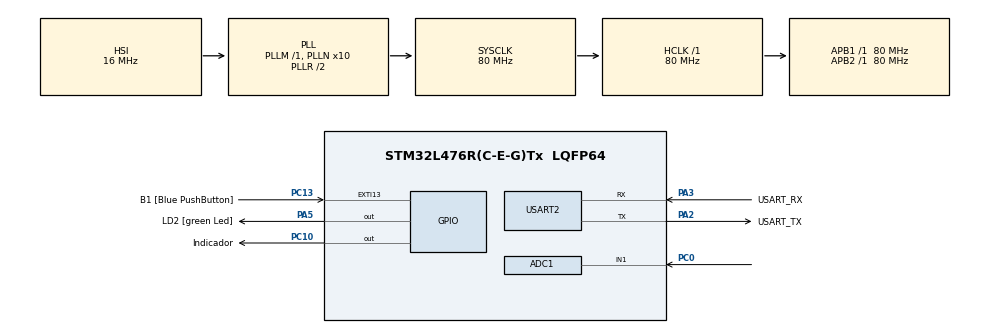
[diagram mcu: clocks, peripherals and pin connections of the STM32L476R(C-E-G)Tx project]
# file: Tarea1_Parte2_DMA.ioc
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ADC1.Channel-0\#ChannelRegularConversion=ADC_CHANNEL_1
ADC1.ExternalTrigConv=ADC_EXTERNALTRIG_T3_TRGO
ADC1.NbrOfConversionFlag=1
ADC1.OffsetNumber-0\#ChannelRegularConversion=ADC_OFFSET_NONE
ADC1.Rank-0\#ChannelRegularConversion=1
ADC1.SamplingTime-0\#ChannelRegularConversion=ADC_SAMPLETIME_2CYCLES_5
ADC1.master=1
Dma.ADC1.0.Direction=DMA_PERIPH_TO_MEMORY
Dma.ADC1.0.Instance=DMA1_Channel1
Dma.ADC1.0.MemDataAlignment=DMA_MDATAALIGN_HALFWORD
Dma.ADC1.0.MemInc=DMA_MINC_ENABLE
Dma.ADC1.0.Mode=DMA_NORMAL
Dma.ADC1.0.PeriphDataAlignment=DMA_PDATAALIGN_HALFWORD
Dma.ADC1.0.PeriphInc=DMA_PINC_DISABLE
Dma.ADC1.0.Priority=DMA_PRIORITY_MEDIUM
Dma.Request0=ADC1
Mcu.Family=STM32L4
Mcu.Name=STM32L476R(C-E-G)Tx
Mcu.Package=LQFP64
NVIC.ADC1_2_IRQn=true\:0\:0\:false\:false\:true\:true\:true\:true
NVIC.DMA1_Channel1_IRQn=true\:0\:0\:false\:false\:true\:false\:true\:true
NVIC.EXTI15_10_IRQn=true\:0\:0\:false\:false\:true\:true\:true\:true
NVIC.PriorityGroup=NVIC_PRIORITYGROUP_4
PA13\ (JTMS-SWDIO).GPIO_Label=TMS
PA13\ (JTMS-SWDIO).Mode=Serial_Wire
PA13\ (JTMS-SWDIO).Signal=SYS_JTMS-SWDIO
PA14\ (JTCK-SWCLK).GPIO_Label=TCK
PA14\ (JTCK-SWCLK).Mode=Serial_Wire
PA14\ (JTCK-SWCLK).Signal=SYS_JTCK-SWCLK
PA2.GPIO_Label=USART_TX
PA2.GPIO_Mode=GPIO_MODE_AF_PP
PA2.GPIO_PuPd=GPIO_NOPULL
PA2.GPIO_Speed=GPIO_SPEED_FREQ_VERY_HIGH
PA2.Mode=Asynchronous
PA2.Signal=USART2_TX
PA3.GPIO_Label=USART_RX
PA3.GPIO_Mode=GPIO_MODE_AF_PP
PA3.GPIO_PuPd=GPIO_NOPULL
PA3.GPIO_Speed=GPIO_SPEED_FREQ_VERY_HIGH
PA3.Mode=Asynchronous
PA3.Signal=USART2_RX
PA5.GPIO_Label=LD2 [green Led]
PA5.GPIO_ModeDefaultOutputPP=GPIO_MODE_OUTPUT_PP
PA5.GPIO_PuPd=GPIO_NOPULL
PA5.GPIO_Speed=GPIO_SPEED_FREQ_LOW
PA5.Signal=GPIO_Output
PB3\ (JTDO-TRACESWO).GPIO_Label=SWO
PB3\ (JTDO-TRACESWO).Signal=SYS_JTDO-SWO
PC0.Signal=ADCx_IN1
PC10.GPIO_Label=Indicador
PC10.Signal=GPIO_Output
PC13.GPIO_Label=B1 [Blue PushButton]
PC13.GPIO_ModeDefaultEXTI=GPIO_MODE_IT_FALLING
PC13.GPIO_PuPd=GPIO_NOPULL
PC13.Signal=GPXTI13
PC14-OSC32_IN\ (PC14).Mode=LSE-External-Oscillator
PC14-OSC32_IN\ (PC14).Signal=RCC_OSC32_IN
PC15-OSC32_OUT\ (PC15).Mode=LSE-External-Oscillator
PC15-OSC32_OUT\ (PC15).Signal=RCC_OSC32_OUT
PH0-OSC_IN\ (PH0).Signal=RCC_OSC_IN
PH1-OSC_OUT\ (PH1).Signal=RCC_OSC_OUT
ProjectManager.HeapSize=0x200
ProjectManager.StackSize=0x400
ProjectManager.TargetToolchain=STM32CubeIDE
RCC.ADCFreq_Value=64000000
RCC.AHBFreq_Value=80000000
RCC.APB1Freq_Value=80000000
RCC.APB1TimFreq_Value=80000000
RCC.APB2Freq_Value=80000000
RCC.APB2TimFreq_Value=80000000
RCC.CortexFreq_Value=80000000
RCC.HCLKFreq_Value=80000000
RCC.HSE_VALUE=8000000
RCC.HSI_VALUE=16000000
RCC.MSI_VALUE=4000000
RCC.PLLN=10
RCC.PLLSourceVirtual=RCC_PLLSOURCE_HSI
RCC.PREFETCH_ENABLE=1
RCC.SYSCLKFreq_VALUE=80000000
RCC.SYSCLKSource=RCC_SYSCLKSOURCE_PLLCLK
RCC.USBFreq_Value=64000000
RCC.VCOOutputFreq_Value=160000000
SH.ADCx_IN1.0=ADC1_IN1,IN1-Single-Ended
TIM3.Period=250
TIM3.Prescaler=8000
TIM3.TIM_MasterOutputTrigger=TIM_TRGO_UPDATE
USART2.VirtualMode-Asynchronous=VM_ASYNC
VP_TIM3_VS_ClockSourceINT.Mode=Internal
board=NUCLEO-L476RG

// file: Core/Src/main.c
/* USER CODE BEGIN Header */
/**
  ******************************************************************************
  * @file           : main.c
  * @brief          : Main program body
  ******************************************************************************
  * @attention
  *
  * Copyright (c) 2026 STMicroelectronics.
  * All rights reserved.
  *
  * This software is licensed under terms that can be found in the LICENSE file
  * in the root directory of this software component.
  * If no LICENSE file comes with this software, it is provided AS-IS.
  *
  ******************************************************************************
  */
/* USER CODE END Header */
#include "main.h"

ADC_HandleTypeDef hadc1;
DMA_HandleTypeDef hdma_adc1;

TIM_HandleTypeDef htim3;

UART_HandleTypeDef huart2;

/* USER CODE BEGIN PV */
#define NUM_SAMPLES 80

volatile uint16_t adc_buffer[NUM_SAMPLES];
volatile uint16_t sample_index = 0;
volatile uint8_t is_sampling = 0;
volatile uint8_t data_ready = 0;

extern ADC_HandleTypeDef hadc1;
extern TIM_HandleTypeDef htim3;
extern UART_HandleTypeDef huart2;
/* USER CODE END PV */

void SystemClock_Config(void);
static void MX_GPIO_Init(void);
static void MX_DMA_Init(void);
static void MX_USART2_UART_Init(void);
static void MX_ADC1_Init(void);
static void MX_TIM3_Init(void);

int main(void)
{

  /* MCU Configuration--------------------------------------------------------*/

  /* Reset of all peripherals, Initializes the Flash interface and the Systick. */
  HAL_Init();

  /* Configure the system clock */
  SystemClock_Config();

  /* Initialize all configured peripherals */
  MX_GPIO_Init();
  MX_DMA_Init();
  MX_USART2_UART_Init();
  MX_ADC1_Init();
  MX_TIM3_Init();

  /* Infinite loop */
  while (1)
  {

    /* USER CODE BEGIN 3 */
	  if (data_ready)
	  {

	      char msg_buffer[16];

	      for (int i = 0; i < NUM_SAMPLES; i++)
	      {
	          float voltage = ((float)adc_buffer[i] / 4095.0f) * 3.3f;

	          int len = snprintf(msg_buffer, sizeof(msg_buffer), "%.4f\r\n", voltage);

	          HAL_UART_Transmit(&huart2, (uint8_t*)msg_buffer, len, HAL_MAX_DELAY);
	      }
	      data_ready = 0;
	  }
  }
  /* USER CODE END 3 */
}

void SystemClock_Config(void)
{
  RCC_OscInitTypeDef RCC_OscInitStruct = {0};
  RCC_ClkInitTypeDef RCC_ClkInitStruct = {0};

  /** Configure the main internal regulator output voltage
  */
  if (HAL_PWREx_ControlVoltageScaling(PWR_REGULATOR_VOLTAGE_SCALE1) != HAL_OK)
  {
    Error_Handler();
  }

  /** Initializes the RCC Oscillators according to the specified parameters
  * in the RCC_OscInitTypeDef structure.
  */
  RCC_OscInitStruct.OscillatorType = RCC_OSCILLATORTYPE_HSI;
  RCC_OscInitStruct.HSIState = RCC_HSI_ON;
  RCC_OscInitStruct.HSICalibrationValue = RCC_HSICALIBRATION_DEFAULT;
  RCC_OscInitStruct.PLL.PLLState = RCC_PLL_ON;
  RCC_OscInitStruct.PLL.PLLSource = RCC_PLLSOURCE_HSI;
  RCC_OscInitStruct.PLL.PLLM = 1;
  RCC_OscInitStruct.PLL.PLLN = 10;
  RCC_OscInitStruct.PLL.PLLP = RCC_PLLP_DIV7;
  RCC_OscInitStruct.PLL.PLLQ = RCC_PLLQ_DIV2;
  RCC_OscInitStruct.PLL.PLLR = RCC_PLLR_DIV2;
  if (HAL_RCC_OscConfig(&RCC_OscInitStruct) != HAL_OK)
  {
    Error_Handler();
  }

  /** Initializes the CPU, AHB and APB buses clocks
  */
  RCC_ClkInitStruct.ClockType = RCC_CLOCKTYPE_HCLK|RCC_CLOCKTYPE_SYSCLK
                              |RCC_CLOCKTYPE_PCLK1|RCC_CLOCKTYPE_PCLK2;
  RCC_ClkInitStruct.SYSCLKSource = RCC_SYSCLKSOURCE_PLLCLK;
  RCC_ClkInitStruct.AHBCLKDivider = RCC_SYSCLK_DIV1;
  RCC_ClkInitStruct.APB1CLKDivider = RCC_HCLK_DIV1;
  RCC_ClkInitStruct.APB2CLKDivider = RCC_HCLK_DIV1;

  if (HAL_RCC_ClockConfig(&RCC_ClkInitStruct, FLASH_LATENCY_4) != HAL_OK)
  {
    Error_Handler();
  }
}

static void MX_ADC1_Init(void)
{

  ADC_MultiModeTypeDef multimode = {0};
  ADC_ChannelConfTypeDef sConfig = {0};

  /** Common config
  */
  hadc1.Instance = ADC1;
  hadc1.Init.ClockPrescaler = ADC_CLOCK_ASYNC_DIV1;
  hadc1.Init.Resolution = ADC_RESOLUTION_12B;
  hadc1.Init.DataAlign = ADC_DATAALIGN_RIGHT;
  hadc1.Init.ScanConvMode = ADC_SCAN_DISABLE;
  hadc1.Init.EOCSelection = ADC_EOC_SINGLE_CONV;
  hadc1.Init.LowPowerAutoWait = DISABLE;
  hadc1.Init.ContinuousConvMode = DISABLE;
  hadc1.Init.NbrOfConversion = 1;
  hadc1.Init.DiscontinuousConvMode = DISABLE;
  hadc1.Init.ExternalTrigConv = ADC_EXTERNALTRIG_T3_TRGO;
  hadc1.Init.ExternalTrigConvEdge = ADC_EXTERNALTRIGCONVEDGE_RISING;
  hadc1.Init.DMAContinuousRequests = DISABLE;
  hadc1.Init.Overrun = ADC_OVR_DATA_PRESERVED;
  hadc1.Init.OversamplingMode = DISABLE;
  if (HAL_ADC_Init(&hadc1) != HAL_OK)
  {
    Error_Handler();
  }

  /** Configure the ADC multi-mode
  */
  multimode.Mode = ADC_MODE_INDEPENDENT;
  if (HAL_ADCEx_MultiModeConfigChannel(&hadc1, &multimode) != HAL_OK)
  {
    Error_Handler();
  }

  /** Configure Regular Channel
  */
  sConfig.Channel = ADC_CHANNEL_1;
  sConfig.Rank = ADC_REGULAR_RANK_1;
  sConfig.SamplingTime = ADC_SAMPLETIME_2CYCLES_5;
  sConfig.SingleDiff = ADC_SINGLE_ENDED;
  sConfig.OffsetNumber = ADC_OFFSET_NONE;
  sConfig.Offset = 0;
  if (HAL_ADC_ConfigChannel(&hadc1, &sConfig) != HAL_OK)
  {
    Error_Handler();
  }

}

static void MX_TIM3_Init(void)
{

  TIM_ClockConfigTypeDef sClockSourceConfig = {0};
  TIM_MasterConfigTypeDef sMasterConfig = {0};

  htim3.Instance = TIM3;
  htim3.Init.Prescaler = 8000;
  htim3.Init.CounterMode = TIM_COUNTERMODE_UP;
  htim3.Init.Period = 250;
  htim3.Init.ClockDivision = TIM_CLOCKDIVISION_DIV1;
  htim3.Init.AutoReloadPreload = TIM_AUTORELOAD_PRELOAD_DISABLE;
  if (HAL_TIM_Base_Init(&htim3) != HAL_OK)
  {
    Error_Handler();
  }
  sClockSourceConfig.ClockSource = TIM_CLOCKSOURCE_INTERNAL;
  if (HAL_TIM_ConfigClockSource(&htim3, &sClockSourceConfig) != HAL_OK)
  {
    Error_Handler();
  }
  sMasterConfig.MasterOutputTrigger = TIM_TRGO_UPDATE;
  sMasterConfig.MasterSlaveMode = TIM_MASTERSLAVEMODE_DISABLE;
  if (HAL_TIMEx_MasterConfigSynchronization(&htim3, &sMasterConfig) != HAL_OK)
  {
    Error_Handler();
  }

}

static void MX_USART2_UART_Init(void)
{

  huart2.Instance = USART2;
  huart2.Init.BaudRate = 115200;
  huart2.Init.WordLength = UART_WORDLENGTH_8B;
  huart2.Init.StopBits = UART_STOPBITS_1;
  huart2.Init.Parity = UART_PARITY_NONE;
  huart2.Init.Mode = UART_MODE_TX_RX;
  huart2.Init.HwFlowCtl = UART_HWCONTROL_NONE;
  huart2.Init.OverSampling = UART_OVERSAMPLING_16;
  huart2.Init.OneBitSampling = UART_ONE_BIT_SAMPLE_DISABLE;
  huart2.AdvancedInit.AdvFeatureInit = UART_ADVFEATURE_NO_INIT;
  if (HAL_UART_Init(&huart2) != HAL_OK)
  {
    Error_Handler();
  }

}

static void MX_DMA_Init(void)
{

  /* DMA controller clock enable */
  __HAL_RCC_DMA1_CLK_ENABLE();

  /* DMA interrupt init */
  /* DMA1_Channel1_IRQn interrupt configuration */
  HAL_NVIC_SetPriority(DMA1_Channel1_IRQn, 0, 0);
  HAL_NVIC_EnableIRQ(DMA1_Channel1_IRQn);

}

static void MX_GPIO_Init(void)
{
  GPIO_InitTypeDef GPIO_InitStruct = {0};

  /* GPIO Ports Clock Enable */
  __HAL_RCC_GPIOC_CLK_ENABLE();
  __HAL_RCC_GPIOH_CLK_ENABLE();
  __HAL_RCC_GPIOA_CLK_ENABLE();
  __HAL_RCC_GPIOB_CLK_ENABLE();

  /*Configure GPIO pin Output Level */
  HAL_GPIO_WritePin(LD2_GPIO_Port, LD2_Pin, GPIO_PIN_RESET);

  /*Configure GPIO pin Output Level */
  HAL_GPIO_WritePin(Indicador_GPIO_Port, Indicador_Pin, GPIO_PIN_RESET);

  /*Configure GPIO pin : B1_Pin */
  GPIO_InitStruct.Pin = B1_Pin;
  GPIO_InitStruct.Mode = GPIO_MODE_IT_FALLING;
  GPIO_InitStruct.Pull = GPIO_NOPULL;
  HAL_GPIO_Init(B1_GPIO_Port, &GPIO_InitStruct);

  /*Configure GPIO pin : LD2_Pin */
  GPIO_InitStruct.Pin = LD2_Pin;
  GPIO_InitStruct.Mode = GPIO_MODE_OUTPUT_PP;
  GPIO_InitStruct.Pull = GPIO_NOPULL;
  GPIO_InitStruct.Speed = GPIO_SPEED_FREQ_LOW;
  HAL_GPIO_Init(LD2_GPIO_Port, &GPIO_InitStruct);

  /*Configure GPIO pin : Indicador_Pin */
  GPIO_InitStruct.Pin = Indicador_Pin;
  GPIO_InitStruct.Mode = GPIO_MODE_OUTPUT_PP;
  GPIO_InitStruct.Pull = GPIO_NOPULL;
  GPIO_InitStruct.Speed = GPIO_SPEED_FREQ_LOW;
  HAL_GPIO_Init(Indicador_GPIO_Port, &GPIO_InitStruct);

  /* EXTI interrupt init*/
  HAL_NVIC_SetPriority(EXTI15_10_IRQn, 0, 0);
  HAL_NVIC_EnableIRQ(EXTI15_10_IRQn);

}

void Error_Handler(void)
{
  __disable_irq();
  while (1)
  {
  }
}
